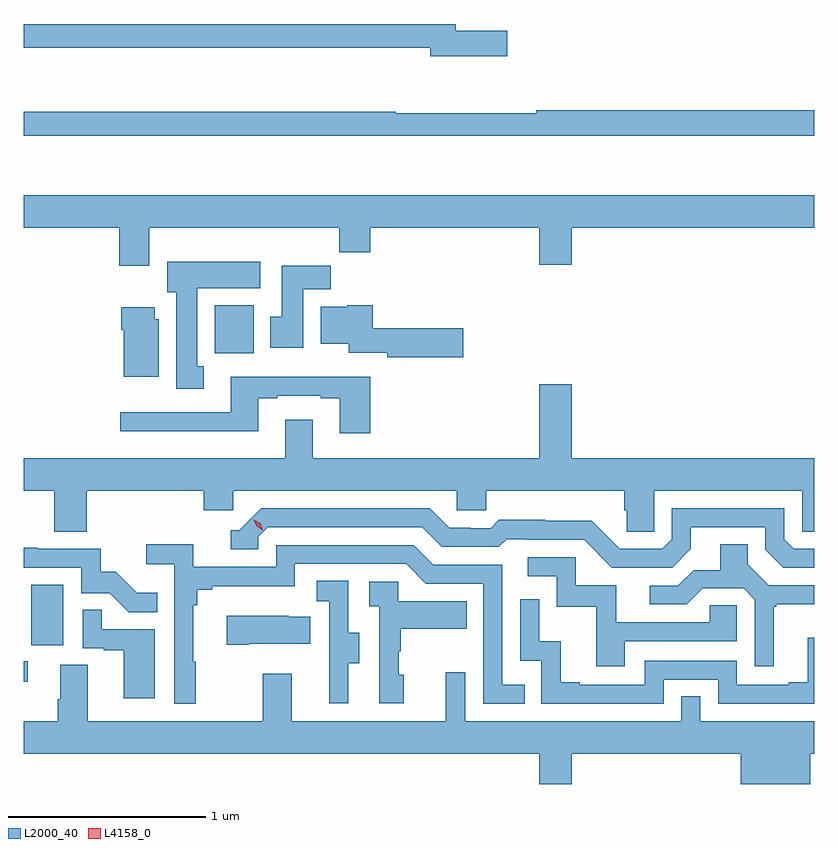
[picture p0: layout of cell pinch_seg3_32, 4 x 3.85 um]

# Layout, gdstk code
import gdstk
lib = gdstk.Library(unit=1e-6, precision=1e-09)
def R(c, l, rs):  # rectangles x0, y0, x1, y1
    for r in rs: c.add(gdstk.rectangle(r[:2], r[2:], *l))
def P(c, l, *ps):  # polygons
    for p in ps: c.add(gdstk.Polygon(p, *l))
L2000_40 = (2000, 40)
L4158_0 = (4158, 0)

pinch_seg3_32 = lib.new_cell('pinch_seg3_32')
R(pinch_seg3_32, L2000_40, [(1097.462,745.236,1097.482,745.341), (1097.498,745.422,1097.662,745.729), (1098.428,746.9,1098.625,747.142)])
P(pinch_seg3_32, L2000_40, [(1099.909,748.533),(1099.648,748.533),(1099.648,748.567),(1097.462,748.567),(1097.462,748.446),(1099.52,748.446),(1099.52,748.403),(1099.909,748.403)],
  [(1101.462,748.13),(1100.055,748.13),(1100.055,748.115),(1099.345,748.115),(1099.345,748.123),(1097.462,748.123),(1097.462,748.002),(1101.462,748.002)],
  [(1098.097,747.536),(1099.057,747.536),(1099.057,747.412),(1099.214,747.412),(1099.214,747.536),(1100.072,747.536),(1100.072,747.348),(1100.236,747.348),(1100.236,747.536),(1101.462,747.536),(1101.462,747.7),(1097.462,747.7),(1097.462,747.536),(1097.945,747.536),(1097.945,747.342),(1098.097,747.342)],
  [(1098.373,746.834),(1098.34,746.834),(1098.34,747.23),(1098.658,747.23),(1098.658,747.364),(1098.188,747.364),(1098.188,747.21),(1098.233,747.21),(1098.233,746.721),(1098.373,746.721)],
  [(1098.877,747.224),(1099.016,747.224),(1099.016,747.343),(1098.767,747.343),(1098.767,747.084),(1098.71,747.084),(1098.71,746.928),(1098.877,746.928)],
  [(1099.687,747.026),(1099.229,747.026),(1099.229,747.142),(1099.098,747.142),(1099.098,747.136),(1098.965,747.136),(1098.965,746.948),(1099.106,746.948),(1099.106,746.903),(1099.302,746.903),(1099.302,746.879),(1099.687,746.879)],
  [(1098.145,747.072),(1098.124,747.072),(1098.124,747.133),(1097.954,747.133),(1097.954,747.02),(1097.966,747.02),(1097.966,746.78),(1098.145,746.78)],
  [(1099.214,746.782),(1098.509,746.782),(1098.509,746.601),(1097.949,746.601),(1097.949,746.504),(1098.649,746.504),(1098.649,746.673),(1098.745,746.673),(1098.745,746.685),(1098.965,746.685),(1098.965,746.673),(1099.061,746.673),(1099.061,746.496),(1099.214,746.496)],
  [(1097.78,746.204),(1098.371,746.204),(1098.371,746.106),(1098.522,746.106),(1098.522,746.204),(1099.653,746.204),(1099.653,746.106),(1099.803,746.106),(1099.803,746.204),(1100.501,746.204),(1100.501,746.106),(1100.515,746.106),(1100.515,745.996),(1100.652,745.996),(1100.652,746.204),(1101.402,746.204),(1101.402,745.996),(1101.462,745.996),(1101.462,746.368),(1100.236,746.368),(1100.236,746.743),(1100.072,746.743),(1100.072,746.368),(1098.925,746.368),(1098.925,746.563),(1098.785,746.563),(1098.785,746.368),(1097.462,746.368),(1097.462,746.204),(1097.615,746.204),(1097.615,745.996),(1097.78,745.996)],
  [(1100.839,745.909),(1100.839,746.019),(1101.216,746.019),(1101.216,745.905),(1101.306,745.815),(1101.462,745.815),(1101.462,745.911),(1101.36,745.911),(1101.312,745.959),(1101.312,746.115),(1100.742,746.115),(1100.742,745.959),(1100.694,745.911),(1100.478,745.911),(1100.336,746.053),(1100.1,746.053),(1100.1,746.056),(1099.867,746.056),(1099.825,746.013),(1099.722,746.013),(1099.722,746.016),(1099.615,746.016),(1099.516,746.115),(1098.663,746.115),(1098.552,746.004),(1098.509,746.004),(1098.509,745.908),(1098.648,745.908),(1098.648,745.971),(1098.696,746.019),(1099.479,746.019),(1099.578,745.92),(1099.867,745.92),(1099.906,745.959),(1100.005,745.959),(1100.005,745.956),(1100.298,745.956),(1100.439,745.815),(1100.745,745.815)],
  [(1098.331,745.337),(1098.319,745.337),(1098.319,745.625),(1098.338,745.625),(1098.338,745.702),(1098.415,745.702),(1098.415,745.721),(1098.834,745.721),(1098.834,745.833),(1099.398,745.833),(1099.497,745.734),(1099.788,745.734),(1099.788,745.125),(1099.997,745.125),(1099.997,745.221),(1099.884,745.221),(1099.884,745.83),(1099.534,745.83),(1099.435,745.929),(1098.738,745.929),(1098.738,745.818),(1098.32,745.818),(1098.32,745.934),(1098.081,745.934),(1098.081,745.832),(1098.222,745.832),(1098.222,745.125),(1098.331,745.125)],
  [(1101.259,745.617),(1101.271,745.617),(1101.271,745.628),(1101.462,745.628),(1101.462,745.725),(1101.234,745.725),(1101.127,745.832),(1101.127,745.934),(1100.987,745.934),(1100.987,745.802),(1100.852,745.802),(1100.772,745.722),(1100.631,745.722),(1100.631,745.629),(1100.818,745.629),(1100.899,745.71),(1101.105,745.71),(1101.162,745.653),(1101.162,745.314),(1101.259,745.314)],
  [(1098.137,745.687),(1098.033,745.687),(1097.926,745.794),(1097.85,745.794),(1097.85,745.911),(1097.531,745.911),(1097.531,745.916),(1097.462,745.916),(1097.462,745.815),(1097.751,745.815),(1097.751,745.686),(1097.895,745.686),(1097.993,745.588),(1098.137,745.588)],
  [(1100.503,745.443),(1101.072,745.443),(1101.072,745.623),(1100.935,745.623),(1100.935,745.539),(1100.461,745.539),(1100.461,745.725),(1100.256,745.725),(1100.256,745.866),(1100.013,745.866),(1100.013,745.77),(1100.16,745.77),(1100.16,745.617),(1100.359,745.617),(1100.359,745.314),(1100.503,745.314)],
  [(1099.105,745.33),(1099.159,745.33),(1099.159,745.485),(1099.104,745.485),(1099.104,745.748),(1098.945,745.748),(1098.945,745.645),(1099.008,745.645),(1099.008,745.341),(1099.007,745.341),(1099.007,745.128),(1099.105,745.128)],
  [(1099.384,745.272),(1099.359,745.272),(1099.359,745.391),(1099.369,745.391),(1099.369,745.505),(1099.703,745.505),(1099.703,745.645),(1099.356,745.645),(1099.356,745.743),(1099.209,745.743),(1099.209,745.619),(1099.26,745.619),(1099.26,745.128),(1099.384,745.128)],
  [(1100.7,745.248),(1100.976,745.248),(1100.976,745.125),(1101.462,745.125),(1101.462,745.459),(1101.431,745.459),(1101.431,745.234),(1101.335,745.234),(1101.335,745.221),(1101.072,745.221),(1101.072,745.344),(1100.604,745.344),(1100.604,745.221),(1100.275,745.221),(1100.275,745.234),(1100.18,745.234),(1100.18,745.442),(1100.07,745.442),(1100.07,745.654),(1099.974,745.654),(1099.974,745.344),(1100.082,745.344),(1100.082,745.125),(1100.7,745.125)],
  [(1098.124,745.503),(1097.855,745.503),(1097.855,745.601),(1097.76,745.601),(1097.76,745.407),(1097.867,745.407),(1097.867,745.395),(1097.966,745.395),(1097.966,745.152),(1098.124,745.152)],
  [(1098.601,745.43),(1098.911,745.43),(1098.911,745.567),(1098.803,745.567),(1098.803,745.57),(1098.489,745.57),(1098.489,745.423),(1098.601,745.423)],
  [(1100.236,744.872),(1101.092,744.872),(1101.092,744.719),(1101.442,744.719),(1101.442,744.872),(1101.462,744.872),(1101.462,745.036),(1100.886,745.036),(1100.886,745.163),(1100.79,745.163),(1100.79,745.036),(1099.695,745.036),(1099.695,745.285),(1099.598,745.285),(1099.598,745.036),(1098.817,745.036),(1098.817,745.276),(1098.67,745.276),(1098.67,745.036),(1097.785,745.036),(1097.785,745.322),(1097.645,745.322),(1097.645,745.148),(1097.633,745.148),(1097.633,745.036),(1097.462,745.036),(1097.462,744.872),(1100.072,744.872),(1100.072,744.719),(1100.236,744.719)])
P(pinch_seg3_32, L4158_0, [(1098.672,746.005),(1098.641,746.025),(1098.626,746.058),(1098.626,746.058),(1098.626,746.058),(1098.657,746.038),(1098.672,746.005),(1098.672,746.005)])

lib.write_gds('pinch_seg3_32.gds')
